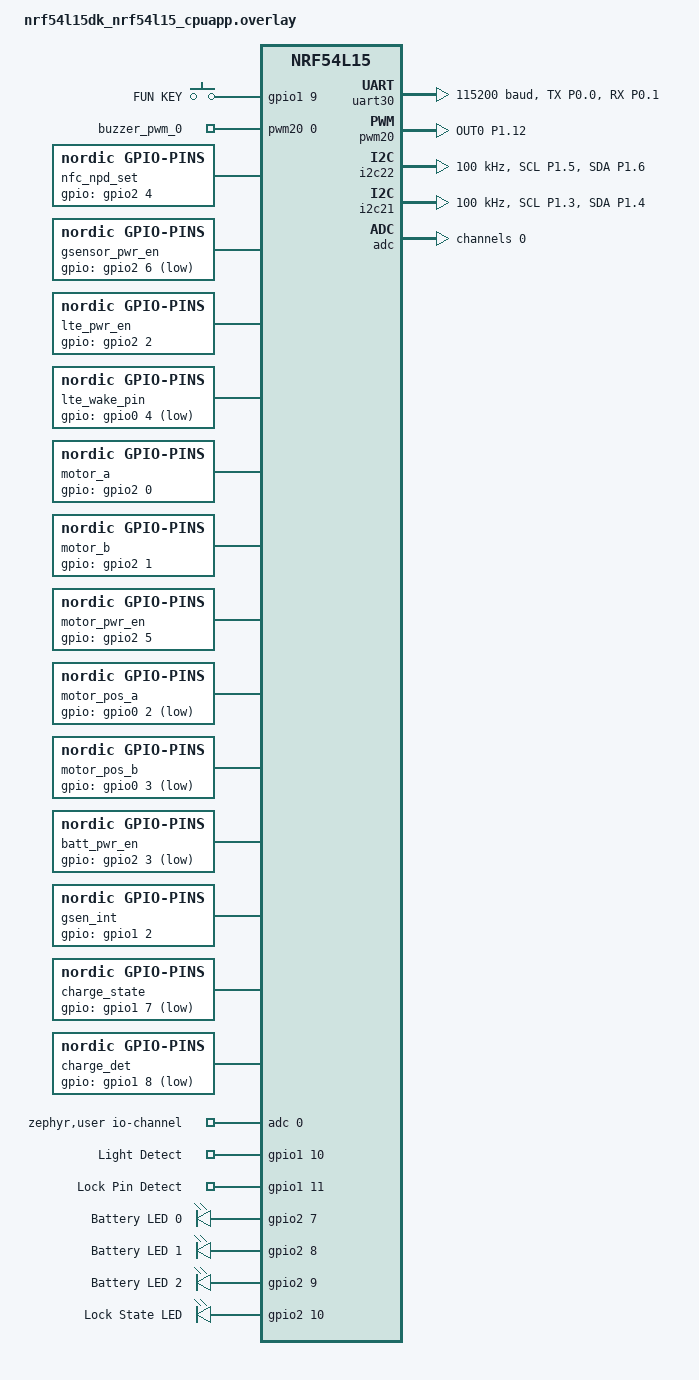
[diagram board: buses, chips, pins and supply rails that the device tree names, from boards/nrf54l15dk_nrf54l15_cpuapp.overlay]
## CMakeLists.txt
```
#
# Copyright (c) 2018 Nordic Semiconductor
#
# SPDX-License-Identifier: LicenseRef-Nordic-5-Clause
#
cmake_minimum_required(VERSION 3.20.0)

find_package(Zephyr REQUIRED HINTS $ENV{ZEPHYR_BASE})
project(LL311_BLE)

set(CMAKE_EXPORT_COMPILE_COMMANDS ON)

target_include_directories(app PRIVATE
 ./inc
 ./src
 ./ext_module/QMI8658B/api
)

# NORDIC SDK APP START
target_sources(app PRIVATE
  src/gsensor_test_main.c
  src/my_shell.c
  src/my_gsensor.c
  ext_module/QMI8658B/api/imu_api.c
  ext_module/QMI8658B/port/qmi8658b_port.c
  ext_module/QMI8658B/driver/qmi8658b_driver.c
)

# NORDIC SDK APP END
```

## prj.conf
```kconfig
#
# Copyright (c) 2018 Nordic Semiconductor
#
# SPDX-License-Identifier: LicenseRef-Nordic-5-Clause
#

# Enable the UART driver
CONFIG_UART_ASYNC_API=y
CONFIG_NRFX_UARTE=y
CONFIG_SERIAL=y

# Enable the GPIO driver
CONFIG_GPIO=y

# Enable I2C driver
CONFIG_I2C=y

# Enable PWM driver
CONFIG_PWM=y

# Make sure printk is printing to the RTT console
CONFIG_CONSOLE=y
CONFIG_UART_CONSOLE=n
CONFIG_RTT_CONSOLE=y

# Enable Shell
CONFIG_SHELL=y
CONFIG_SHELL_BACKEND_RTT=y
CONFIG_SHELL_BACKEND_SERIAL=n
CONFIG_SHELL_VT100_COMMANDS=y
CONFIG_SHELL_HISTORY=y

# Increase RTT buffer size to prevent message drops
CONFIG_SEGGER_RTT_BUFFER_SIZE_UP=4096
CONFIG_LOG_BUFFER_SIZE=4096

# Heap and stacks
CONFIG_HEAP_MEM_POOL_SIZE=16384
CONFIG_MAIN_STACK_SIZE=2048
CONFIG_SYSTEM_WORKQUEUE_STACK_SIZE=2048

# Bluetooth RX workqueue stack size (default 1200 is insufficient for BLE log, increased to 2048)
CONFIG_BT_RX_STACK_SIZE=2048

# Enable Bluetooth
CONFIG_BT=y
CONFIG_BT_PERIPHERAL=y
CONFIG_BT_DEVICE_NAME="LL311"
CONFIG_BT_DEVICE_APPEARANCE=512
CONFIG_BT_MAX_CONN=2
CONFIG_BT_MAX_PAIRED=1

# Enable Bluetooth Observer role for TAG scanning
CONFIG_BT_OBSERVER=y
CONFIG_BT_SCAN=y

# Enable extended advertising for multiple advertising sets
CONFIG_BT_EXT_ADV=y
CONFIG_BT_EXT_ADV_MAX_ADV_SET=3

CONFIG_BT_CTLR_TX_PWR_DYNAMIC_CONTROL=y

# Enable the Device Information Service
# CONFIG_BT_DIS=y
# CONFIG_BT_DIS_MANUF_NAME=y
# CONFIG_BT_DIS_MANUF_NAME_STR="Nordic Semiconductor ASA"
# CONFIG_BT_DIS_PNP=y
# CONFIG_BT_DIS_PNP_VID_SRC=2
# CONFIG_BT_DIS_PNP_VID=0x1915
# CONFIG_BT_DIS_PNP_PID=0xEEF1
# CONFIG_BT_DIS_PNP_VER=0x0100

# Disable NUS service
CONFIG_BT_NUS=n
# CONFIG_BT_NUS_THREAD_STACK_SIZE is no longer needed

# Enable bonding
CONFIG_BT_SETTINGS=y
CONFIG_FLASH=y
CONFIG_FLASH_PAGE_LAYOUT=y
CONFIG_FLASH_MAP=y
CONFIG_STREAM_FLASH=y
CONFIG_PARTITION_MANAGER_ENABLED=y

# Enable DK LED and Buttons library
CONFIG_DK_LIBRARY=n

# Disable SPI NOR Flash
CONFIG_SPI_NOR=n
CONFIG_NORDIC_QSPI_NOR=n

# Enable Power Management
CONFIG_PM=y
CONFIG_PM_DEVICE=y
CONFIG_PM_DEVICE_RUNTIME=y

# Disable unused RAM blocks to reduce standby current
CONFIG_RAM_POWER_DOWN_LIBRARY=y

# Config logger
CONFIG_LOG=y
CONFIG_LOG_DEFAULT_LEVEL=3
CONFIG_USE_SEGGER_RTT=y
CONFIG_LOG_BACKEND_RTT=n
CONFIG_LOG_BACKEND_UART=n
CONFIG_LOG_PRINTK=n
CONFIG_LOG_CUSTOM_FORMAT_SUPPORT=y
CONFIG_LOG_OUTPUT_FORMAT_CUSTOM_TIMESTAMP=y
CONFIG_LOG_BACKEND_FORMAT_TIMESTAMP=y


# Enable assertions
CONFIG_ASSERT=y

# Enable power management
CONFIG_PM=y
CONFIG_PM_DEVICE=y

# Enable Watchdog
# CONFIG_WATCHDOG=y

# Enable reboot
CONFIG_REBOOT=y

# Enable ADC
CONFIG_ADC=y
CONFIG_ADC_NRFX_SAADC=y

# ST MEMSC HAL
CONFIG_USE_STDC_LSM6DSV16X=y

# Enable poweroff
CONFIG_POWEROFF=y

# nRF Security + PSA Crypto
CONFIG_NRF_SECURITY=y

# AES ECB
CONFIG_PSA_WANT_KEY_TYPE_AES=y
CONFIG_PSA_WANT_ALG_ECB_NO_PADDING=y

# Enable MCUManager and BT OTA DFU
CONFIG_NCS_SAMPLE_MCUMGR_BT_OTA_DFU=y

# Enable Bluetooth OTA DFU support, no authentication required
CONFIG_MCUMGR_TRANSPORT_BT_PERM_RW=y

# MCUmgr notification hooks for OTA status monitoring
CONFIG_MCUMGR_MGMT_NOTIFICATION_HOOKS=y
CONFIG_MCUMGR_SMP_COMMAND_STATUS_HOOKS=y
CONFIG_MCUMGR_GRP_IMG_UPLOAD_CHECK_HOOK=y

# Enable Bluetooth SMP (Security Manager Protocol)
CONFIG_BT_SMP=y

# Enable Secure Connections pairing (for Passkey Entry)
CONFIG_BT_SMP_SC_PAIR_ONLY=n

# Enable larger ACL buffers for DFU (MTU 498 + 4 bytes L2CAP header)
# Supports dual-PDU mode: max data length = 251 * 2 = 502
CONFIG_BT_L2CAP_TX_MTU=498
CONFIG_BT_BUF_ACL_RX_SIZE=502
CONFIG_BT_BUF_ACL_TX_SIZE=502
CONFIG_BT_CTLR_DATA_LENGTH_MAX=251

CONFIG_CBPRINTF_FP_SUPPORT=y
```

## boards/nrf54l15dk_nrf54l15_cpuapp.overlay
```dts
/*
 * Copyright (c) 2024 Nordic Semiconductor ASA
 *
 * SPDX-License-Identifier: LicenseRef-Nordic-5-Clause
 */

#include <zephyr/dt-bindings/gpio/gpio.h>
#include <zephyr/dt-bindings/i2c/i2c.h>
#include <zephyr/dt-bindings/pinctrl/nrf-pinctrl.h>

/ {
	chosen {
	};

	/* 定义别名，方便代码调用 */
	aliases {
		/* 删除板级alias别名 */
		/delete-property/ led0;
		/delete-property/ led1;
		/delete-property/ led2;
		/delete-property/ led3;
		/delete-property/ pwm-led0;
		/delete-property/ sw0;
		/delete-property/ sw1;
		/delete-property/ sw2;
		/delete-property/ sw3;
		/delete-property/ mcuboot-button0;
		/delete-property/ mcuboot-led0;
		lte-uart = &uart30;
		lte-pwr-ctrl = &lte_pwr_en;
		lte-wake-ctrl = &lte_wake_pin;
		gsensor-i2c = &i2c21;
		gsensor-pwr-ctrl = &gsensor_pwr_en;
		nfc-i2c = &i2c22;
		nfc-npd-ctrl = &nfc_npd_set;
		buzzer-pwm = &buzzer_pwm_0;
		fun-key = &fun_key_pin;
		motor-ctrl-a = &motor_a;
		motor-ctrl-b = &motor_b;
		motor-pwr-ctrl = &motor_pwr_en;
		motor-posdet-a = &motor_pos_a;
		motor-posdet-b = &motor_pos_b;
		batt-pwr-ctrl = &batt_pwr_en;
		gsensor-int = &gsen_int;
		batt-state = &charge_state;
		charge-detect = &charge_det;
		light-detect = &light_det_pin;
		lock-pin-det = &lock_pin_det_pin;
		battery-led0 = &batt_led0;
		battery-led1 = &batt_led1;
		battery-led2 = &batt_led2;
		lock-led0  = &lock_led;
	};
	/* 删除板级节点 */
	/delete-node/ leds;
	/delete-node/ buttons;
	/delete-node/ pwmleds;

	/* 定义按键 - 使用 gpio-keys 兼容类型 */
	button_fun: button_fun {
		compatible = "gpio-keys";
		fun_key_pin: fun_key_pin {
			gpios = <&gpio1 9 (GPIO_PULL_DOWN | GPIO_ACTIVE_HIGH)>;
			label = "FUN KEY";
		};
	};

	/* 定义蜂鸣器 PWM 节点 */
	buzzer_node {
		compatible = "pwm-leds";
		buzzer_pwm_0: buzzer_pwm_0 {
			/* 蜂鸣器设置2.7KHz */
			pwms = <&pwm20 0 PWM_HZ(2700) PWM_POLARITY_NORMAL>;
		};
	};

	/* NFC NPD 低功耗控制引脚配置:P2.04 */
	nfc_npd_set: nfc-npd-set {
		compatible = "nordic,gpio-pins";
		gpios = <&gpio2 4 GPIO_ACTIVE_HIGH>;
		status = "okay";
	};

	/* G-Sensor 电源控制引脚配置,低电平有效,适配硬件设计 */
	gsensor_pwr_en: gsensor-pwr-en {
		compatible = "nordic,gpio-pins";
		gpios = <&gpio2 6 GPIO_ACTIVE_LOW>;
		status = "okay";
	};

	/* LTE 电源控制引脚配置 */
	lte_pwr_en: lte-pwr-en {
		compatible = "nordic,gpio-pins";
		gpios = <&gpio2 2 GPIO_ACTIVE_HIGH>;
		status = "okay";
	};

	/* LTE 唤醒引脚配置：P0.04，外部上拉，4G拉低唤醒Nordic */
	lte_wake_pin: lte-wake-pin {
		compatible = "nordic,gpio-pins";
		gpios = <&gpio0 4 GPIO_ACTIVE_LOW>;
		status = "okay";
	};

	/* P2.0: 马达方向 A */
	motor_a: motor-a {
		compatible = "nordic,gpio-pins";
		gpios = <&gpio2 0 GPIO_ACTIVE_HIGH>;
		status = "okay";
	};

	/* P2.1: 马达方向 B */
	motor_b: motor-b {
		compatible = "nordic,gpio-pins";
		gpios = <&gpio2 1 GPIO_ACTIVE_HIGH>;
		status = "okay";
	};

	/* P2.5: 马达电源开关，高电平上电 */
	 motor_pwr_en: motor-pwr-en {
		compatible = "nordic,gpio-pins";
		gpios = <&gpio2 5 GPIO_ACTIVE_HIGH>;
		status = "okay";
	};

	/* P0.2: 位置检测 A，默认上拉 */
	motor_pos_a: motor-pos-a {
		compatible = "nordic,gpio-pins";
		gpios = <&gpio0 2 (GPIO_ACTIVE_LOW | GPIO_PULL_UP)>;
		status = "okay";
	};

	/* P0.3: 位置检测 B，默认上拉 */
	motor_pos_b: motor-pos-b {
		compatible = "nordic,gpio-pins";
		gpios = <&gpio0 3 (GPIO_ACTIVE_LOW | GPIO_PULL_UP)>;
		status = "okay";
	};

	/* P2.3: 电池使能，低电平使能 */
	batt_pwr_en: batt-pwr-en {
		compatible = "nordic,gpio-pins";
		gpios = <&gpio2 3 GPIO_ACTIVE_LOW>;
		status = "okay";
	};

	/* gsensor中断，默认下拉 */
	gsen_int: gsen-int {
		compatible = "nordic,gpio-pins";
		gpios = <&gpio1 2 (GPIO_PULL_DOWN | GPIO_ACTIVE_HIGH)>;
		status = "okay";
	};

	/* P1.7:电池状态监测； 充电中:低电平; 充满:高电平 */
	charge_state: charge-state {
		compatible = "nordic,gpio-pins";
		gpios = <&gpio1 7 (GPIO_PULL_UP | GPIO_ACTIVE_LOW)>;
		status = "okay";
	};

	/* P1.8: 是否在充电的检测,默认上拉 */
	charge_det: charge-det {
		compatible = "nordic,gpio-pins";
		gpios = <&gpio1 8 (GPIO_PULL_UP | GPIO_ACTIVE_LOW)>;
		status = "okay";
	};

	/* 把要用的 ADC 通道挂到 zephyr,user，方便 C 代码用 ADC_DT_SPEC_GET(DT_PATH(zephyr_user)) */
	zephyr,user {
		/* 通道 0：电池电压（P1.13 / AIN6）*/
		io-channels = <&adc 0>;
	};

	/* 光感检测：P1.10，外部1M下拉，有光高电平，无光低电平 */
	light_det: light-det {
		compatible = "gpio-keys";
		light_det_pin: light_det_pin {
			gpios = <&gpio1 10 GPIO_ACTIVE_HIGH>;
			label = "Light Detect";
		};
	};

	/* 锁销检测：P1.11，外部1M下拉，锁销断开时低电平，插入后接3.3V变为高电平 */
	lock_pin_det: lock-pin-det {
		compatible = "gpio-keys";
		lock_pin_det_pin: lock_pin_det_pin {
			gpios = <&gpio1 11 GPIO_ACTIVE_HIGH>;
			label = "Lock Pin Detect";
		};
	};

	/* 电量指示灯组：P2.7 / P2.8 / P2.9 */
	batt_leds: batt-leds {
		compatible = "gpio-leds";

		batt_led0: batt_led_0 {
			gpios = <&gpio2 7 GPIO_ACTIVE_HIGH>;
			label = "Battery LED 0";  /* 最低电量格 */
		};

		batt_led1: batt_led_1 {
			gpios = <&gpio2 8 GPIO_ACTIVE_HIGH>;
			label = "Battery LED 1";
		};

		batt_led2: batt_led_2 {
			gpios = <&gpio2 9 GPIO_ACTIVE_HIGH>;
			label = "Battery LED 2";  /* 最高电量格 */
		};
	};

	/* 锁状态指示灯：P2.10 */
	lock_leds: lock-leds {
		compatible = "gpio-leds";

		lock_led: lock-led {
			gpios = <&gpio2 10 GPIO_ACTIVE_HIGH>;
			label = "Lock State LED";
		};
	};
};

/* 配置 NFC 使用的引脚做为IO口 */
&uicr {
	nfct-pins-as-gpios;
};

&uart20 {
	status = "disabled";
};

/* 配置 LTE 模块使用的串口引脚 P2.00, P2.01 */
&pinctrl {
	i2c21_default: i2c21_default {
		group1 {
			psels = <NRF_PSEL(TWIM_SCL, 1, 3)>,
				<NRF_PSEL(TWIM_SDA, 1, 4)>;
		};
	};

	i2c21_sleep: i2c21_sleep {
		group1 {
			psels = <NRF_PSEL(TWIM_SCL, 1, 3)>,
				<NRF_PSEL(TWIM_SDA, 1, 4)>;
			low-power-enable;
		};
	};

	i2c22_default: i2c22_default {
		group1 {
			psels = <NRF_PSEL(TWIM_SCL, 1, 5)>,
				<NRF_PSEL(TWIM_SDA, 1, 6)>;
		};
	};

	i2c22_sleep: i2c22_sleep {
		group1 {
			psels = <NRF_PSEL(TWIM_SCL, 1, 5)>,
				<NRF_PSEL(TWIM_SDA, 1, 6)>;
			low-power-enable;
		};
	};

	lte_uart30_default: lte_uart30_default {
		group1 {
			psels = <NRF_PSEL(UART_TX, 0, 0)>,
				<NRF_PSEL(UART_RX, 0, 1)>;
		};
	};

	lte_uart30_sleep: lte_uart30_sleep {
		group1 {
			psels = <NRF_PSEL(UART_TX, 0, 0)>,
				<NRF_PSEL(UART_RX, 0, 1)>;
			low-power-enable;
		};
	};

	pwm20_default: pwm20_default {
		group1 {
			psels = <NRF_PSEL(PWM_OUT0, 1, 12)>;
			nordic,drive-mode = <NRF_DRIVE_H0H1>;
		};
	};

	pwm20_sleep: pwm20_sleep {
		group1 {
			psels = <NRF_PSEL(PWM_OUT0, 1, 12)>;
			low-power-enable;
		};
	};
};

/* 开启并配置 UART30 */
&uart30 {
	status = "okay";
	current-speed = <115200>;
	pinctrl-0 = <&lte_uart30_default>;
	pinctrl-1 = <&lte_uart30_sleep>;
	pinctrl-names = "default", "sleep";
};

/* 开启并配置 PWM 用于蜂鸣器 */
&pwm20 {
	status = "okay";
	pinctrl-0 = <&pwm20_default>;
	pinctrl-1 = <&pwm20_sleep>;
	pinctrl-names = "default", "sleep";
};

/* 开启并配置 I2C22 用于 NFC */
&i2c22 {
	status = "okay";
	pinctrl-0 = <&i2c22_default>;
	pinctrl-1 = <&i2c22_sleep>;
	pinctrl-names = "default", "sleep";
	clock-frequency = <I2C_BITRATE_STANDARD>;
};


&i2c21 {
	status = "okay";
	pinctrl-0 = <&i2c21_default>;
	pinctrl-1 = <&i2c21_sleep>;
	pinctrl-names = "default", "sleep";
	clock-frequency = <I2C_BITRATE_STANDARD>;
};

/* ADC 配置：通道 0 = AIN6(P1.13)，通道 1 = AIN7(P1.14) */
&adc {
	#address-cells = <1>;
	#size-cells = <0>;
	status = "okay";

	/* 通道 0：电池电压采集，AIN6 = P1.13 */
	channel@0 {
		reg = <0>;
		zephyr,gain = "ADC_GAIN_1_4";          /* nRF54L15 推荐 1/4 增益 */
		zephyr,reference = "ADC_REF_INTERNAL"; /* 内部参考 */
		zephyr,acquisition-time = <ADC_ACQ_TIME_DEFAULT>;
		zephyr,input-positive = <NRF_SAADC_AIN6>;  /* AIN6 = P1.13 */
		zephyr,resolution = <14>;                  /* nRF54L15 为 14 bit */
	};
};

/* disable spi nor flash */
&spi00 {
	status = "disabled";
};

/* Disable MX25R64 SPI NOR Flash */
&mx25r64 {
    status = "disabled";
};

/* 用于P0.4唤醒 */
&gpio0 {
	wakeup-source;
};

/*
&wdt31 {
	status = "okay";
};
*/
```

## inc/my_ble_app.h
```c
/********************************************************************
**版权所有         深圳市几米物联有限公司
**文件名称:        my_ble_app.h
**文件描述:        设备蓝牙交互模块实现头文件
**当前版本:        V1.0
**作    者:        周森达 (zhousenda@jimiiot.com)
**完成日期:        2026-03-05
*********************************************************************
** 功能描述:        1. 提供交互协议相关宏定义
**                 2. 为外部提供数据接收和解析相关接口
** 协议文档:        Jimi Iot 蓝牙通信协议V3.1.6_2026-3-5
** OTA 效率优化:    为提升 OTA 传输效率，采用双 PDU 模式，MTU 扩大至 498 字节
**                 （默认 MTU 247 仅支持单 PDU，498 支持双 PDU，理论吞吐提升约 2 倍）
** 配置位置:        prj.conf 中 CONFIG_BT_L2CAP_TX_MTU=498 和 CONFIG_BT_BUF_ACL_RX_SIZE=502
*********************************************************************/
#ifndef _MY_BLE_APP_H_
#define _MY_BLE_APP_H_

// 交互协议相关宏定义
#define BLE_DATA_FRAME_LEN_MAX                  16

#define BLE_DATA_PACKET_HEAD                    0X4254          //数据包头
#define BLE_DATA_TYPE_PKEY                      0x1101          //公钥数据
#define BLE_DATA_TYPE_CID                       0x2202          //串号数据
#define BLE_DATA_TYPE_MTU_LEN                   0x2203          //MTU交换数据
#define BLE_DATA_TYPE_HID_VALID                 0x2303          //HID有效期
#define BLE_DATA_TYPE_ALARM                     0x3303          //防盗器指令数据
#define BLE_DATA_TYPE_QUERY                     0x3304          //查询仪表数据及应答
#define BLE_DATA_TYPE_REPORT                    0x3305          //仪表数据上行汇报及应答
#define BLE_DATA_TYPE_CMD                       0x5505          //其它指令数据
#define BLE_DATA_TYPE_FILE_TRANS                0x4605          //DFU文件指令,参考Jimi Iot 蓝牙通信协议V3.1.6_2026-3-5 6.4 OTA文件传输
#define BLE_DATA_TYPE_QEURY_VER                 0x5601          //app下行查询版本号
#define BLE_DATA_TYPE_RSP_VER1                  0x5602          //设备类型
#define BLE_DATA_TYPE_RSP_VER2                  0x5603          //设备版本号

#define BLE_DATA_TYPE_SET_ADV                   0x5606          //设置广播名称
#define BLE_DATA_TYPE_SET_IMEI                  0x5707          //设置IMEI号
#define BLE_DATA_TYPE_AT_CMD                    0x5808          //用户指令

/* 单模块回复传输（0xFF 0x01 / 0xFF 0x02）
 * 用于大数据量返回，如NFCTRIG CHECK返回结果
 * 1. 可单包发送时走 FF01：payload 格式为 len(Varint, 0-512) + Module id(Varint,固定0x08) + Module len(Varint) + data
 *    APP 回复解密后 payload 固定为 0x00
 * 2. 需分包发送时走 FF02：payload 格式为 Len(Varint, 0-512) + Seq(1B) + [首包附带 Module id + Module len] + data
 *    APP 回复格式为 52 54 FF 02，解密后 payload 为 len(Varint) + 包序号
 */
#define BLE_DATA_TYPE_PACKET_SINGLE             0xFF01          //单包传输数据类型
#define BLE_DATA_TYPE_PACKET_MULTIPLE           0xFF02          //分包传输数据类型

#define BLE_PACKET_TRANS_MODULE_ID              0x08            //模块ID(RSP_ASCII)
#define BLE_PACKET_TRANS_SEQ_LAST               0xFF            //最后一包序号标记

/* 日志指令透传数据（LOG_DATA）
 * 指令格式：
 * +--------+--------+--------+--------+
 * |  字节  |   0~1  |   2~3  |  4~N   |
 * +--------+--------+--------+--------+
 * |  字段  |  head  |  cmd   |  data  |
 * +--------+--------+--------+--------+
 * |  值    | 0x4254 | 0x5901 |  日志  |
 * +--------+--------+--------+--------+
 * 说明：
 *   - head (2B): 帧头 0x4254 ("BT")
 *   - cmd  (2B): 指令类型 0x5901 (LOG_DATA)
 *   - data (NB): 透传日志内容，明文传输，无需16字节对齐，测试发现小于16字节的需要填充0，补足16字节
 *   - 长度计算: MTU - BLE_LOG_MTU_OVERHEAD
 *   - MTU开销: ATT头(3B) + head(2B) + cmd(2B) = 7B
 */
#define BLE_DATA_TYPE_BT_LOG                    0x5901          //日志指令透传数据（LOG_DATA）
/* 日志数据MTU开销：ATT头(3B) + head(2B) + cmd(2B) */
#define BLE_LOG_MTU_OVERHEAD                    7

/* 蓝牙日志单包最大内容长度
 * 原因：测试发现超过240字节会导致蓝牙自动断开
 * 注意：此限制与MTU无关，是协议栈稳定性要求
 */
#define BLE_LOG_MAX_CHUNK_SIZE                  240

#define BLE_DFU_HEAD1                           0x78            // DFU包头1
#define BLE_DFU_HEAD2                           0x79            // DFU包头2

#define BLE_COMU_DEV_CODE                       0xB3            // 设备码
#define BLE_COMU_APP_CODE                       0xC2            // 应用码
#define BLE_COMU_CMD_START                      0x89            // 命令码
#define BLE_COMU_ALARM_START                    0x78            // 告警码

#define BLE_PKEY_RX_CMD                         0x8900C200      // 公钥接收命令
#define BLE_PKEY_RSP_DATA1                      0x00            // 公钥接收响应数据1
#define BLE_PKEY_RSP_DATA3                      0x00

/* APP下行控制指令    */
#define BLE_APP_CMD_APP_LINK                    0x00
#define BLE_APP_CMD_PAIR_ALLOW                  0x02
#define BLE_APP_CMD_PAIR_ALIOS                  0x03            // IOS PAIR ALLOW
#define BLE_APP_CMD_HID_READ                    0x05
#define BLE_APP_CMD_HID_ONOFF                   0x06
#define BLE_APP_CMD_HID_GEAR                    0x08
#define BLE_APP_CMD_QUERY_SENSOR                0x09
#define BLE_APP_CMD_SETUP_SENSOR                0x0a
#define BLE_APP_CMD_QUERY_BUZZER                0x0b
#define BLE_APP_CMD_SETUP_BUZZER                0x0c
#define BLE_APP_CMD_QUERY_CTRLPWR               0x0d
#define BLE_APP_CMD_SETUP_CTRLPWR               0x0e
#define BLE_APP_CMD_QUERY_ALL                   0x0f
#define BLE_APP_CMD_FIND_CAR                    0x10
#define BLE_APP_CMD_USER_MODE                   0x12
#define BLE_APP_CMD_PAIR_MODE                   0x15
#define BLE_APP_CMD_PAIR_CODE                   0x16

/* 设备上行应答APP控制指令       */
#define BLE_RSP_CMD_APP_LINK                    0x00
#define BLE_RSP_CMD_CID                         0x01
#define BLE_RSP_CMD_PAIR_ALLOW                  0x03
#define BLE_RSP_CMD_PAIR_RESULT                 0x04
#define BLE_RSP_CMD_HID_ONOFF                   0x06
#define BLE_RSP_CMD_HID_GEAR                    0x08
#define BLE_RSP_CMD_SENSOR_PARAM                0x09
#define BLE_RSP_CMD_SENSOR_SETUP                0x0a
#define BLE_RSP_CMD_BUZZER_PARAM                0x0b
#define BLE_RSP_CMD_BUZZER_SETUP                0x0c
#define BLE_RSP_CMD_CTRLPWR_PARAM               0x0d
#define BLE_RSP_CMD_CTRLPWR_SETUP               0x0e
#define BLE_RSP_CMD_QUERY_ALL                   0x0f
#define BLE_RSP_CMD_FIND_CAR                    0x10
#define BLE_RSP_CMD_USER_MODE                   0x12
#define BLE_RSP_CMD_PAIR_MODE                   0x15
#define BLE_RSP_CMD_PAIR_CODE                   0x16

#define BLE_RSP_PARAM_SUCCESS                   0x00
#define BLE_RSP_PARAM_FAIL                      0x01

extern uint16_t ble_server_mtu;

#define BLE_SERVER_MAX_MTU CONFIG_BT_L2CAP_TX_MTU // MTU最大长度，系统用掉了3个字节,可用数据最大244字节
#define BLE_SERVER_MIN_MTU 23                     // MTU默认最小长度

#define BLE_SERVER_MAX_DATA_LEN    (ble_server_mtu - 3)
#define BLE_SVC_RX_MAX_LEN         (BLE_SERVER_MAX_MTU - 3)
#define BLE_SVC_TX_MAX_LEN         (BLE_SERVER_MAX_MTU - 3)

#define BLE_RESP_LENGTH_MAX         BLE_SVC_RX_MAX_LEN

#define BLE_FRAME_HEAD_LEN          2               // 蓝牙数据帧头长度2字节
#define BLE_CMD_HEAD_LEN            2               // 蓝牙命令头长度2字节
#define BLE_CMD_DATA_LEN_UNIT       16              // 蓝牙命令内容长度基数16字节，因为要加密，必须是16字节的倍数
#define BLE_GATT_FRAME_LEN_MIN      (BLE_FRAME_HEAD_LEN + BLE_CMD_HEAD_LEN + BLE_CMD_DATA_LEN_UNIT)

#define BLE_MTU_DATA_LEN            (512 + 16)  /* MTU 498 支持，最大解密后约 512 字节，对齐 16 字节 */

/*********************************************************************
**函数名称:  BLE_DataInputBuffer
**入口参数:  data        --  蓝牙接收的原始数据指针
**           len         --  蓝牙接收的原始数据长度
**出口参数:  无
**函数功能:  验证数据长度合法性后缓存数据，发送消息给蓝牙线程处理
**返 回 值:  无
*********************************************************************/
void BLE_DataInputBuffer(const uint8_t *data, uint16_t len);
/*********************************************************************
**函数名称:  ble_rx_proc_handle
**入口参数:  无
**出口参数:  无
**函数功能:  蓝牙接收消息处理函数，验证包头后分发处理数据包
**返 回 值:  无
*********************************************************************/
void ble_rx_proc_handle(void);

/*********************************************************************
**函数名称:  my_ble_dfu_send_response
**入口参数:  cmd   ---   命令码
**           data  ---   响应数据
**           len   ---   数据长度
**出口参数:  无
**函数功能:  发送 DFU 响应数据
**返 回 值:  无
*********************************************************************/
void my_ble_dfu_send_response(uint8_t cmd, uint8_t *data, uint16_t len);

/*********************************************************************
**函数名称:  ble_log_send
**入口参数:  data     ---        日志数据指针
**           len      ---        日志数据长度
**出口参数:  无
**函数功能:  发送蓝牙日志到APP，通过指令通道（0x5901）明文传输
**返 回 值:  无
*********************************************************************/
void ble_log_send(uint8_t *data, uint8_t len);

/*********************************************************************
**函数名称:  ble_log_init
**入口参数:  无
**出口参数:  无
**函数功能:  初始化蓝牙日志模块，包括互斥锁初始化
**返 回 值:  0 表示成功
*********************************************************************/
int ble_log_init(void);

/*********************************************************************
**函数名称:  ble_log_disconnect_cleanup
**入口参数:  无
**出口参数:  无
**函数功能:  蓝牙断开时设置断开标志，通知 ble_log_send 清理资源
**返 回 值:  无
*********************************************************************/
void ble_log_disconnect_cleanup(void);

/*********************************************************************
**函数名称:  ble_log_connect_init
**入口参数:  无
**出口参数:  无
**函数功能:  蓝牙连接建立时清除断开标志，允许日志发送
**返 回 值:  无
*********************************************************************/
void ble_log_connect_init(void);
/********************************************************************
**函数名称:  ble_comu_at_cmd_handle
**入口参数:  data          ---        AT命令数据输入指针
**         :  len           ---        数据长度
**出口参数:  无
**函数功能:  处理BLE接收的AT命令
**返回值:    无
**注意事项:  根据AT命令处理结果决定是否发送响应数据
*********************************************************************/
void ble_comu_at_cmd_handle(const uint8_t *data, uint16_t len);

/********************************************************************
**函数名称:  ble_packet_trans_send
**入口参数:  data          ---        待发送的实际数据指针
**         :  len           ---        待发送的实际数据长度
**出口参数:  无
**函数功能:  使用分包传输机制（0xFF 0x02）发送大数据到APP
**返回值:    无
**注意事项:  1.数据会被自动分包，每包等待APP确认后再发下一包
**           2.分包大小根据MTU自动计算
**           3.数据内容会被扩展到16字节倍数后加密发送
**           4.最后一包实际数据使用0xFF作为序号
*********************************************************************/
void ble_packet_trans_send(uint8_t *data, uint16_t len);

/*********************************************************************
**函数名称:  ble_packet_trans_init
**入口参数:  无
**出口参数:  无
**函数功能:  初始化BLE单包/分包回复超时与重发模块
**返 回 值:  无
*********************************************************************/
void ble_packet_trans_init(void);

/*********************************************************************
**函数名称:  ble_packet_trans_timeout_handler
**入口参数:  无
**出口参数:  无
**函数功能:  BLE 分包传输应答超时处理，在 BLE 线程上下文执行
**返 回 值:  无
*********************************************************************/
void ble_packet_trans_timeout_handler(void);

/*********************************************************************
**函数名称:  ble_packet_trans_disconnect_cleanup
**入口参数:  无
**出口参数:  无
**函数功能:  蓝牙断开时清理BLE单包/分包回复状态
**返 回 值:  无
*********************************************************************/
void ble_packet_trans_disconnect_cleanup(void);

/********************************************************************
**函数名称:  ble_comu_response_or_expansion_cmd
**入口参数:  type          ---        命令类型
**         :  str_data      ---        输入数据指针
**         :  len           ---        数据长度
**出口参数:  无
**函数功能:  发送BLE通信响应或扩展命令数据
**返回值:    无
**注意事项:  数据长度会被扩展到16字节的倍数进行发送
*********************************************************************/
void ble_comu_response_or_expansion_cmd(uint16_t type, uint8_t *str_data, uint8_t len);
#endif
```

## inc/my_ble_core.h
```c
/********************************************************************
**版权所有         深圳市几米物联有限公司
**文件名称:        my_ble_core.h
**文件描述:        蓝牙核心任务处理模块头文件
**当前版本:        V1.0
**作    者:        Harrison Wu (wuyujiao@jimiiot.com)
**完成日期:        2026.01.13
*********************************************************************
** 功能描述:        蓝牙核心任务处理模块接口
**                 1. 提供BLE核心初始化接口
**                 2. 提供BLE运行控制接口(启动/停止等)
**                 3. 定义BLE与UART透传之间的FIFO接口
**                 4. 为应用层提供BLE连接状态和数据通道抽象
*********************************************************************/

#ifndef _MY_BLE_CORE_H_
#define _MY_BLE_CORE_H_

typedef enum {
    APPLE_ADV_TYPE,
    GOOGLE_ADV_TYPE
} MY_ADV_TYPE;

/*
 * BLE 核心初始化参数：
 * 目前暂无特定参数，预留结构体
 */
struct my_ble_core_init_param
{
    uint32_t reserved;
};

/********************************************************************
**函数名称:  my_ble_core_init
**入口参数:  param    ---        BLE 核心初始化参数结构体（包含 UART-BLE 透传 FIFO ）
**           tid      ---        指向线程 ID 变量的指针
**出口参数:  tid      ---        存储启动后的线程 ID
**函数功能:  保存 UART 与 BLE 透传 FIFO 句柄，初始化消息队列并启动 BLE 任务线程
**返 回 值:  0 表示成功，负值表示失败（如参数非法等）
*********************************************************************/
int my_ble_core_init(const struct my_ble_core_init_param *param, k_tid_t *tid);

/********************************************************************
**函数名称:  my_ble_core_start
**入口参数:  无
**出口参数:  无
**函数功能:  启动 BLE 协议栈、相关广播及 GATT 服务
**返 回 值:  0 表示成功，负值表示失败（如协议栈初始化失败等）
*********************************************************************/
int my_ble_core_start(void);

/********************************************************************
**函数名称:  set_adv_valid_status
**入口参数:  index    ---        广播类型索引（0:APPLE, 1:GOOGLE）
**           status   ---        广播状态（0:无效, 1:有效）
**出口参数:  无
**函数功能:  设置指定类型广播的有效状态
**返 回 值:  无
*********************************************************************/
void set_adv_valid_status(MY_ADV_TYPE index, int status);

/********************************************************************
**函数名称:  bt_get_mac_addr
**入口参数:  无
**出口参数:  无
**函数功能:  获取设备蓝牙MAC地址
**返 回 值:  指向MAC地址缓冲区的指针（6字节）
*********************************************************************/
const uint8_t *bt_get_mac_addr(void);
/********************************************************************
**函数名称:  ble_server_send_notification
**入口参数:  data     ---        要发送的数据缓冲区指针
**           tx_len   ---        数据长度
**出口参数:  无
**函数功能:  BLE服务器发送通知函数，处理GATT通知数据发送
**返 回 值:  无
*********************************************************************/
void ble_server_send_notification(uint8_t *data, uint16_t tx_len);

/********************************************************************
**函数名称:  ble_is_connected
**入口参数:  无
**出口参数:  无
**函数功能:  检查BLE是否已连接
**返 回 值:  true=已连接，false=未连接
*********************************************************************/
bool ble_is_connected(void);

/********************************************************************
**函数名称:  ble_is_data_channel_ready
**入口参数:  无
**出口参数:  无
**函数功能:  检查BLE数据通道是否就绪（连接建立+CCC使能）
**返 回 值:  true=就绪，false=未就绪
**注意事项:  仅当数据通道就绪后才能发送日志，避免在连接初期发送导致崩溃
*********************************************************************/
bool ble_is_data_channel_ready(void);
/********************************************************************
**函数名称:  ble_set_tx_power
**入口参数:  tx_power ---        发射功率(dBm)，范围: -10 ~ +7(NRF54L15 QFN封装)
**出口参数:  无
**函数功能:  设置蓝牙发射功率
**返 回 值:  0表示成功，负值表示失败
*********************************************************************/
int ble_set_tx_power(int8_t tx_power);
/********************************************************************
**函数名称:  ble_set_tx_power_by_param
**入口参数:  无
**出口参数:  无
**函数功能:  根据ZMS存储的参数设置蓝牙发射功率
**返 回 值:  0表示成功，负值表示失败
*********************************************************************/
int ble_set_tx_power_by_param(void);

#endif /* _MY_BLE_CORE_H_ */
```

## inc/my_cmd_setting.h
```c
/********************************************************************
**版权所有         深圳市几米物联有限公司
**文件名称:        my_cmd_setting.h
**文件描述:        设备命令设置模块头文件
**当前版本:        V1.0
**作    者:        周森达 (zhousenda@jimiiot.com)
**完成日期:        2026.02.12
*********************************************************************/

#ifndef _MY_CMD_SETTING_H_
#define _MY_CMD_SETTING_H_

#define AT_CMD_TABLE_TOTAL (sizeof(at_cmd_attr_table)/sizeof(at_cmd_attr_t))
#define LTE_CMD_TABLE_TOTAL (sizeof(lte_cmd_attr_table)/sizeof(char*))

#define RESP_STRING_LENGTH_MAX              1024                //应答缓冲区大小
#define CMD_STRING_LENGTH_MAX               128                 //暂定可接收cmd缓冲区大小

typedef enum
{
    PARM_1,
    PARM_2,
    PARM_3,
    PARM_4,
    PARM_5,
    PARM_6,
    PARM_7,
    PARM_8,
    PARM_9,
    PARM_10,
    PARM_11,
    PARM_12,
    PARM_13,
    PARM_14,
    PARM_15,
    PARM_16,
    PARM_17,
    PARM_18,
    PARM_19,
    PARM_20,
    PARM_MAX
} cmd_parm_struct;

typedef struct {
    char *parm[PARM_MAX];
    uint8_t parm_count;

    char rcv_msg[CMD_STRING_LENGTH_MAX];            //接收到的数据
    uint16_t rcv_length;

    char *resp_msg;                                 //应答数据指针（指向静态缓冲区）
    uint16_t resp_length;
} at_cmd_struc;

typedef int(*at_cmd_handler_t)(at_cmd_struc *msg);

typedef struct
{
    char *cmd_str;
    at_cmd_handler_t cmd_func;
} at_cmd_attr_t;

// 标记lte_cmd来的,用于区分蓝牙下发的还是lte过来的(某些指令只能网络发蓝牙不能执行)
extern uint8_t g_lte_cmdSource;

// 用于存储整包返回的数据内容(仅在蓝牙线程使用)
extern char g_resp_buf[RESP_STRING_LENGTH_MAX];

/********************************************************************
**函数名称:  set_work_mode
**入口参数:  config   ---        指向设备工作模式配置结构体的指针
**           mode     ---        要设置的工作模式（连续/长续航/智能等）
**出口参数:  config   ---        更新后的配置结构体
**函数功能:  设置设备的工作模式，将指定的工作模式写入作模式配置结构体
**返 回 值:  0 表示成功，负值表示失败（如参数非法等）
*********************************************************************/
int set_work_mode(DeviceWorkModeConfig *config, MY_WORK_MODE mode);

/********************************************************************
**函数名称:  set_long_battery_params
**入口参数:  config              ---    指向设备工作模式配置结构体的指针
**           reporting_interval   ---    上报间隔时间（单位：分钟）
**           start_time_str      ---    启动时间字符串（格式：HH:MM）
**出口参数:  config              ---    更新后的长续航模式配置结构体
**函数功能:  设置长续航模式的工作参数，包括上报间隔和启动时间
**返 回 值:  0 表示成功，负值表示失败（如时间格式错误等）
*********************************************************************/
int set_long_battery_params(DeviceWorkModeConfig *config, uint16_t reporting_interval, const char *start_time_str);

/********************************************************************
**函数名称:  set_intelligent_params
**入口参数:  config   ---        指向设备工作模式配置结构体的指针
**           static_int ---      静态状态上报间隔（单位：秒）
**           land_int   ---      陆地状态上报间隔（单位：秒）
**           sea_int    ---      海上状态上报间隔（单位：秒）
**           sleep_sw   ---      睡眠模式标志（0:不休眠,1、2具体见产品设计）
**出口参数:  config   ---        更新后的智能模式配置结构体
**函数功能:  设置智能模式的工作参数，根据不同状态配置不同的上报间隔及睡眠模式
**返 回 值:  0 表示成功，负值表示失败（如参数非法等）
*********************************************************************/
int set_intelligent_params(DeviceWorkModeConfig *config, uint32_t static_int, uint32_t land_int, uint32_t land_distance, uint32_t sea_int, uint8_t sleep_sw);

/********************************************************************
**函数名称:  at_recv_cmd_handler
**入口参数:  at_cmd_msg      ---        AT指令结构体指针，包含接收的指令和响应存储区域(输入/输出)
**出口参数:  at_cmd_msg中更新响应消息内容和响应长度
**函数功能:  解析接收到的AT指令并执行对应的处理函数
**返回值:    成功返回处理函数返回的BLE数据类型，未匹配指令或处理失败返回0
*********************************************************************/
uint16_t at_recv_cmd_handler(at_cmd_struc *at_cmd_msg);

/********************************************************************
**函数名称:  run_nfc_cmd
**入口参数:  card_id      ---      输入，NFC卡号指针
**           index      ---        匹配到卡号的索引
**出口参数:  at_cmd_msg中更新响应消息内容和响应长度
**函数功能:  执行NFC联动指令
**返回值:    成功返回处理函数返回的BLE数据类型，未匹配指令或命令解析失败返回0
**          返回非0不代表命令执行成功，具体看对应的执行函数resp_msg回复
*********************************************************************/
uint16_t run_nfc_cmd(char *card_id, uint8_t *index);

/********************************************************************
**函数名称:  run_lte_cmd
**入口参数:  at_cmd_msg      ---   指令结构体指针，包含接收的指令和响应存储区域(输入/输出)
**出口参数:  at_cmd_msg中更新响应消息内容和响应长度
**函数功能:  执行LTE+CMD指令中的command
**返回值:    未匹配指令或命令解析失败返回0
**          返回非0不代表command执行成功，具体看对应的执行函数resp_msg回复
*********************************************************************/
uint16_t run_lte_cmd(at_cmd_struc *at_cmd_msg);

/*********************************************************************
**函数名称:  lte_send_command
**入口参数:  cmd_name     --  命令名称
**           param        --  命令参数（可选，NULL 表示无参数）
**出口参数:  无
**函数功能:  用于构建并发送 LTE 命令到 LTE 模块，支持带参数和不带参数的命令。
**           命令格式：BLE+命令名称[=参数]
**返 回 值:  0 表示成功，-1 表示失败（模式非法）
*********************************************************************/
int lte_send_command(const char *cmd_name, const char *param);

#endif /* _MY_CMD_SETTING_H_ */
```

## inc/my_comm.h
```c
#ifndef _MY_COMMON_H_
#define _MY_COMMON_H_

/* ========== 系统头文件引用 ========== */
/* 标准C库 */
#include <errno.h>
#include <stdbool.h>
#include <stddef.h>
#include <stdint.h>
#include <stdio.h>
#include <string.h>
#include <stdlib.h>
#include <math.h>
#include <time.h>
#include <ctype.h>
#include <psa/crypto.h>

/* Zephyr核心 */
#include <zephyr/device.h>
#include <zephyr/devicetree.h>
#include <zephyr/kernel.h>
#include <zephyr/types.h>

/* Zephyr驱动 */
#include <zephyr/drivers/gpio.h>
#include <zephyr/drivers/i2c.h>
#include <zephyr/drivers/pwm.h>
#include <zephyr/drivers/uart.h>
#include <zephyr/drivers/adc.h>
#include <zephyr/drivers/hwinfo.h>

/* Zephyr系统功能 */
#include <zephyr/logging/log.h>
#include <zephyr/logging/log_output_custom.h>
#include <zephyr/settings/settings.h>
#include <zephyr/sys/reboot.h>
#include <zephyr/sys/util.h>
#include <zephyr/sys/byteorder.h>
#include <zephyr/sys/poweroff.h>
#include <zephyr/sys/clock.h>
#include <zephyr/storage/flash_map.h>
#include <zephyr/fs/zms.h>

/* Zephyr 设备及电源管理 */
#include <zephyr/pm/device.h>
#include <zephyr/pm/device_runtime.h>

/* Zephyr shell */
#include <zephyr/shell/shell.h>

/* Zephyr蓝牙 */
#include <zephyr/bluetooth/bluetooth.h>
#include <zephyr/bluetooth/conn.h>
#include <zephyr/bluetooth/gatt.h>
#include <zephyr/bluetooth/hci.h>
#include <zephyr/bluetooth/hci_vs.h>
#include <zephyr/bluetooth/uuid.h>
#include <zephyr/bluetooth/addr.h>

/* Zephyr MCUmgr */
#include <zephyr/mgmt/mcumgr/mgmt/callbacks.h>

/* Nordic SDK/HAL */
#include <hal/nrf_gpio.h>
#include <hal/nrf_reset.h>
#include <bluetooth/services/nus.h>
#include <soc.h>
#include <uart_async_adapter.h>

/* ========== 通用宏定义 ========== */
#define JM_SLEEP(timeout) k_sleep(timeout)
#define MY_MALLOC_BUFFER(PTR, BUFFER_SIZE) \
    {                                      \
        (PTR) = k_malloc((BUFFER_SIZE));   \
    }
#define MY_FREE_BUFFER(PTR) k_free(PTR)
#define MY_ASSERT_INFO(PARAM)  \
    {                          \
        if (!(PARAM))          \
        {                      \
            my_system_reset(); \
        }                      \
    } // TODO

/* ========== 模块类型枚举 ========== */
typedef enum
{
    MOD_MAIN,        // 主处理程序
    MOD_BLE,         // BLE处理程序
    MOD_CTRL,        // Control处理程序
    MOD_LTE,         // LTE处理程序
    MOD_NFC,         // NFC处理程序
    MOD_GSENSOR,     // G-Sensor处理程序
    MOD_FOTA,        // FOTA处理程序
    MAX_MY_MOD_TYPE, // 最大模块类型
} module_type;

/* ========== 告警类型枚举 ========== */
typedef enum
{
    ALARM_OPEN = 1,         // 拆壳告警
    ALARM_UNLOCK,           // 开锁告警
    ALARM_LOCK,             // 上锁告警
    ALARM_STILL,            // 静止状态告警
    ALARM_SEA,              // 海运状态告警
    ALARM_LAND,             // 陆运状态告警
    ALARM_CHARGE_OUT,        // 充电器拔出告警
    ALARM_CHARGE_IN,        // 充电器插入告警
    ALARM_CHARGE_FULL,      // 充满状态告警
    ALARM_IMPACT,           // 撞击检测告警
    ALARM_CUT,              // 剪线告警
    ALARM_LOCKPIN_IN,       // 锁销插入状态告警
    ALARM_LOCKPIN_OUT,       // 锁销拔出状态告警
    ALARM_NFC,              // NFC告警
    ALARM_BATT,             // 电池状态告警
    ALARM_OTHER,            // 其他类型告警
} alarm_type_t;

/* ========== 4G开机/唤醒协议相关枚举 ========== */
typedef enum
{
    LTE_PWR_STATE_NORMAL = 0,   // 正常上电
    LTE_PWR_STATE_ABNORMAL = 1, // 异常重启
} lte_power_state_t;

typedef enum
{
    LTE_PWRON_REASON_BT = 0,    // 蓝牙上电
    LTE_PWRON_REASON_USB = 1,   // USB上电
    LTE_PWRON_REASON_OTHER = 2, // 其他(预留)
} lte_poweron_reason_t;

typedef enum
{
    LTE_BOOT_REASON_CONTINUOUS = 0, // 连续追踪模式间隔定位上报
    LTE_BOOT_REASON_LONG_LIFE = 1,  // 长续航模式间隔定位上报
    LTE_BOOT_REASON_SMART = 2,      // 智能模式间隔定位上报
    LTE_BOOT_REASON_ALARM = 3,      // 告警事件唤醒
    LTE_BOOT_REASON_SCAN = 4,       // 扫描数据上报
    LTE_BOOT_REASON_RESERVED = 255, // 预留(未知原因)
} lte_boot_reason_t;

/* ========== 定时器相关定义 ========== */
typedef enum
{
    MY_TIMER_ONE_MINUTE = 0, // 最核心定时器，一分钟定时器使用
    MY_TIMER_TEST,           // 1
    // MY_TIMER_WDT_FEED,       /* 看门狗喂狗定时器 */
    MY_TIMER_LTE_POWER,      // LTE电源控制定时器
    MY_TIMER_SHUTDOWN,       // 关机定时器
    MY_TIMER_LTE_PULSE,       // LTE脉冲定时器

    /* 扫描定时器 */
    MY_TIMER_SCAN_INTERVAL,   // 周期扫描定时器
    MY_TIMER_SCAN_LENGTH,     // 单次扫描时长定时器
    MY_TIMER_UPLOAD_INTERVAL, // 上报间隔定时器

    // G-Sensor 专用定时器
    MY_TIMER_GSENSOR_SAMPLE,        // G-Sensor 周期采样定时器
    MY_TIMER_GSENSOR_BURST,         // G-Sensor 批量采样定时器
    MY_TIMER_GSENSOR_SHOCK_ALARM,   // G-Sensor 撞击告警定时器

    MY_TIMER_MAX_ID,
} MY_E_TIMER;

/* 消息ID定义 */
typedef enum
{
    MY_MSG_BASE_MSG = 0,
    MY_MSG_UART_READ_EVENT = MY_MSG_BASE_MSG + 1,
    MY_MSG_TEST,
    MY_MSG_ONE_MINUTE_TIMER,
    MY_MSG_GET_MDIMEI,
    MY_MSG_CLEAR_WDT,
    MY_MSG_POF_EVENT,
    MY_MSG_SYS_SHUTDOWN,
    MY_MSG_POWER_OFF,
    MY_MSG_SYS_REBOOT, // 10
    MY_MSG_BLE_DATA_EVENT,
    MY_MSG_CTRL_LED,    /* LED 控制消息 */
    MY_MSG_CTRL_BUZZER_MODE, /* 蜂鸣器控制消息 */
    MY_MSG_CTRL_BUZZER_ON,
    MY_MSG_CTRL_BUZZER_OFF,
    MY_MSG_WORK_MODE_SWITCH,
    MY_MSG_SHOW_CHARG, // 充电状态显示LED消息
    MY_MSG_UPDATE_BATTERY, // 更新电池状态消息
    MY_MSG_CTRL_LOCK_LED, // 锁LED控制消息
    MY_MSG_VERIFY_UNLOCK, // 处理开锁规则



    /* LTE处理程序消息 */
    MY_MSG_RESET_LTE_TIMER,
    MY_MSG_LTE_UART_IDLE,
    MY_MSG_LTE_TX_DONE,
    MY_MSG_LTE_TX_ABORTED,
    MY_MSG_LTE_PWRON,
    MY_MSG_LTE_PWROFF,
    MY_MSG_LTE_REV,
    MY_MSG_RETRANS_CHECK,
    MY_MSG_ADD_RETRANS_QUEUE,

    /* G-Sensor处理程序消息 */
    MY_MSG_GSENSOR_LOW_POWER,       /* G-Sensor 模式切换进入低功耗模式 */
    MY_MSG_GSENSOR_INT,             /* G-Sensor INT1 中断消息 */
    MY_MSG_GSENSOR_FIFO_INT,        /* G-Sensor FIFO中断消息 */
    MY_MSG_GSENSOR_SHOCK_INT,       /* G-Sensor 撞击检测中断消息 */
    MY_MSG_GSENSOR_SAMPLE,          /* G-Sensor 周期采样消息 */
    MY_MSG_GPS_SPEED_UPDATE ,       /* 处理GPS速度消息 */
    MY_MSG_SHOCK_SW,                /* 处理撞击检测开关消息 */

    /* NFC处理程序消息 */
    MY_MSG_NFC_START_POLL,   /* 启动NFC轮询 */
    MY_MSG_NFC_STOP_POLL,    /* 停止NFC轮询 */
    MY_MSG_NFC_CARD_EVENT,   /* NFC卡片事件 */
    MY_MSG_NFC_POLL_TIMEOUT, /* NFC轮询超时 */

    /* CTRL处理程序消息 */
    MY_MSG_CTRL_KEY_SHORT_PRESS,       /* 按键短按事件 */
    MY_MSG_CTRL_KEY_LONG_PRESS,        /* 按键长按事件（2秒） */
    MY_MSG_CTRL_LIGHT_SENSOR_DARK,     /* 光传感器检测到黑暗环境 */
    MY_MSG_CTRL_LIGHT_SENSOR_BRIGHT,   /* 光传感器检测到光明环境 */
    MY_MSG_CTRL_LOCK_PIN_INSERTED,     /* 锁销插入检测 */
    MY_MSG_CTRL_LOCK_PIN_DISCONNECTED, /* 锁销断开检测 */
    MY_MSG_CTRL_SHUTDOWN_REQUEST,      /* 关机请求 */

    /* BLE 处理程序消息 */
    MY_MSG_BLE_RX,

    // 处理4G过来LTE+CMD数据透传
    MY_MSG_LTE_CMD_RX,
    MY_MSG_LTE_CMD_ASYNC_RESP,
    MY_MSG_BLE_NFCTRIG_EVENT,  // 处理NFC联动指令

    //处理透传mac和tag数据传输（单条上报)
    MY_MSG_UPLOAD_TAG_AND_MAC,

    /* DFU OTA 状态消息 */
    MY_MSG_DFU_START,    /* DFU OTA 开始 */
    MY_MSG_DFU_TIMEOUT,  /* DFU OTA 超时退出 */
    MY_MSG_DFU_COMPLETE, /* DFU OTA 完成 */
    MY_MSG_DFU_FAIL,     /* DFU OTA 失败 */

    /* 开关锁状态消息 */
    MY_MSG_CTRL_OPENLOCKING,    /* 开锁中 */
    MY_MSG_CTRL_CLOSELOCKING,   /* 关锁中 */
    MY_MSG_CTRL_STOPLOCK,       /* 停止开/关锁 */
    MY_MSG_CTRL_OPENLOCKED,     /* 已开锁 */
    MY_MSG_CTRL_CLOSELOCKED,    /* 已关锁 */
    MY_MSG_BLE_LOCK_RESULT,     /* 蓝牙开/关锁结果通知消息 */
    MY_MSG_BLE_CMD,             /* 指令透传回复消息 */

    MY_MSG_LTE_BLE_DATA,        /* 蓝牙指令数据 */
    MY_MSG_BLE_PACKET_TIMEOUT,  /* BLE包传输应答超时 */
    MY_MSG_LTE_PULSE,             /* LTE脉冲消息 */

    MY_MSG_SHUTDOWN,            /* 关机消息 */

    /* 扫描处理程序消息 */
    MY_MSG_TAG_SCAN_PROCESS,    /* TAG扫描数据处理消息 */
    MY_MSG_TRAN_MAC_PROCESS,    /* 透传MAC扫描数据处理消息 */
    MY_MSG_SCAN_INTERVAL,       /* 周期扫描定时器消息 */
    MY_MSG_SCAN_LENGTH,         /* 单次扫描时长定时器消息 */
    MY_MSG_SCAN_UPLOAD,         /* 上报间隔定时器消息 */
    MY_MSG_UPLOAD_WAKEUP,       /* 扫描数据在LTE唤醒时顺便上报消息 */
    MY_MSG_LTE_WAKEUP,          /* LTE唤醒引脚中断触发的UART恢复消息 */
} MY_MAIN_TASK_MSG;

/* ========== 集中引用所有模块头文件 ========== */
#include "my_gsensor.h"
#include "imu_api.h"

#endif /* _MY_COMMON_H_ */
```

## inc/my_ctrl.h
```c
/********************************************************************
**版权所有         深圳市几米物联有限公司
**文件名称:        my_ctrl.h
**文件描述:        系统控制模块头文件 (LED, Buzzer, Key)
**当前版本:        V1.0
**作    者:        Harrison Wu (wuyujiao@jimiiot.com)
**完成日期:        2026.01.15
*********************************************************************
** 功能描述:        1. 整合 LED 指示灯控制
**                 2. 整合蜂鸣器 PWM 驱动
**                 3. 实现 FUN_KEY (P1.09) 按键短按/长按检测
**                 4. 实现光感、剪线检测中断接口
**                 5. 提供独立线程处理控制任务
*********************************************************************/

#ifndef _MY_CTRL_H_
#define _MY_CTRL_H_

/* --- 蜂鸣器相关定义 --- */
struct my_buzzer_note
{
    uint32_t freq_hz;     /* 频率 (Hz) */
    uint32_t duration_ms; /* 持续时间 (ms) */
};

typedef enum
{
    /* 指令控制类型 (BUZZER 指令) */
    BUZZER_STOP = 0,             // 0: 停止蜂鸣器
    BUZZER_CONTINUOUS_ALARM,     // 1: 持续报警 (200ms ON, 500ms OFF, 不停止)
    BUZZER_UNLOCK_SUCCESS,       // 2: 成功提示音 (500ms ON)/解锁成功提示: 长鸣 500ms
    BUZZER_FAIL_TONE,            // 3: 失败提示音 (200ms ON, 200ms OFF, 响3声)
    BUZZER_ERROR_TONE,           // 4: 异常提示音/未授权提示音:(NFC/蓝牙上锁/解锁未授权), 5次短鸣, 每次100ms, 间隔100ms
    BUZZER_GENERAL_ALARM,        // 5: 一般报警音 (200ms ON, 300ms OFF, 持续30s)

    BUZZER_EVENT_LOCK_SUCCESS = 6,          // 上锁成功提示: 短鸣2次, 每次100ms, 间隔300ms
    BUZZER_EVENT_LOCK_FAIL,             // 上锁/解锁失败提示(滑块异常): 3次长鸣, 每次1000ms, 间隔500ms
    BUZZER_EVENT_NFC_ACTIVATE,          // NFC激活提示: 蜂鸣器提示 100ms

    BUZZER_EVENT_READ_NFC_SUCCESS        // 9: NFC 读卡成功 200ms
} my_buzzer_mode;

extern uint8_t g_nfc_card_index; // 处理NFC刷卡事件卡号索引
extern int g_last_card_index;

typedef struct {
    int tick;          // 当前计数（单位：100ms）
    int on_time;       // 响多久（单位：tick）
    int off_time;      // 停多久
    int repeat;        // 剩余次数（0表示无限;>0指定次数）
    uint8_t state;     // 0=关，1=开
} BUZZER_Ctrl_S;

typedef enum
{
    CLOSE_LED,   /* 关闭 LED */
    OPEN_LED,    /* 打开 LED */
    TOGGLE_LED,  /* 切换 LED 状态 */
} MY_LED_CTRL_CMD;

//定义了电池相关 LED ID，用于标识不同的 LED 指示灯
typedef enum
{
    BATT_LED1,  /**< 电池 LED 1 */
    BATT_LED2,  /**< 电池 LED 2 */
    BATT_LED3,  /**< 电池 LED 3 */
} MY_LED_ID;

typedef enum
{
    LOCK_LED_CLOSE,              /**< 关闭锁 LED 模式 */
    LOCK_LED_NFC_START,          /**< NFC 启动模式，LED 以 200ms 亮、500ms 灭的频率闪烁*/
    LOCK_LED_LOCKED,   /**< 解锁中和上锁中模式，LED 以 200ms 亮、200ms 灭的频率持续闪烁 */
    LOCK_LED_UNLOCK,             /**< 已解锁模式，LED 以 500ms 亮、1000ms 灭的频率闪烁，持续 18 秒 */
} MY_LOCK_LED_MODE;

// 用于刷卡执行联调指令（申请空间到蓝牙线程处理）
typedef struct {
    char card_id[32];
    uint8_t card_index; // 匹配到刷卡的索引（仅打印）
} nfctrig_cmd_t;

/* --- 接口函数 --- */

/********************************************************************
**函数名称:  my_ctrl_init
**入口参数:  tid      ---   指向线程 ID 变量的指针
**出口参数:  tid      ---   存储启动后的线程 ID
**函数功能:  初始化控制模块并启动控制线程
**返 回 值:  0 表示成功，负值表示失败
**功能描述:  1. 初始化按键、光感、剪线 IO 中断
**           2. 初始化 LED、蜂鸣器、电机、电池 ADC
**           3. 启动控制线程
*********************************************************************/
int my_ctrl_init(k_tid_t *tid);

/********************************************************************
**函数名称:  my_ctrl_buzzer_play_tone
**入口参数:  freq_hz       ---   频率 (Hz)
**           duration_ms   ---   持续时间 (ms)
**出口参数:  无
**函数功能:  播放一个指定频率和时长的单音
**返 回 值:  0 表示成功，负值表示失败
*********************************************************************/
int my_ctrl_buzzer_play_tone(uint32_t freq_hz, uint32_t duration_ms);

/********************************************************************
**函数名称:  my_ctrl_buzzer_play_sequence
**入口参数:  notes         ---   音符数组指针
**           num_notes     ---   音符数量
**出口参数:  无
**函数功能:  播放一组音符序列
**返 回 值:  0 表示成功，负值表示失败
*********************************************************************/
int my_ctrl_buzzer_play_sequence(const struct my_buzzer_note *notes, uint32_t num_notes);

/********************************************************************
**函数名称:  batt_led_set_level
**入口参数:  level    ---   电量等级 (0~3)
**出口参数:  无
**函数功能:  设置电量指示灯等级
**返 回 值:  0 表示成功，负值表示失败
**功能描述:  根据 level 值点亮对应数量的电量 LED
**           0 -> 全灭
**           1 -> 只亮 batt_led0
**           2 -> 亮 batt_led0, batt_led1
**           3 -> 亮 batt_led0, batt_led1, batt_led2
*********************************************************************/
int batt_led_set_level(uint8_t level);

/********************************************************************
**函数名称:  handle_nfc_card_event
**入口参数:  card_id    ---        输入，NFC卡号指针
            id_len     ---        输入，卡号长度
**出口参数:  无
**函数功能:  处理NFC刷卡事件，检查重复刷卡、验证卡片权限并执行相应操作
**返 回 值:  无
*********************************************************************/
void handle_nfc_card_event(uint8_t *card_id, uint8_t id_len);

/*********************************************************************
**函数名称:  my_lock_led_set_mode
**入口参数:  mode  ---        LED 显示模式，使用 MY_LOCK_LED_MODE 枚举类型
**出口参数:  无
**函数功能:  该函数根据传入的模式参数，设置锁 LED 的不同显示模式，
**          包括关闭、NFC启动、解锁中和上锁中和已解锁模式。
*********************************************************************/
void my_lock_led_set_mode(MY_LOCK_LED_MODE mode);

/*********************************************************************
**函数名称:  my_lock_led_msg_send
**入口参数:  mode  ---        LED 显示模式，使用 MY_LOCK_LED_MODE 枚举类型
**出口参数:  无
**函数功能:  用于发送锁 LED 控制消息到控制模块，设置锁 LED 的显示模式
*********************************************************************/
void my_lock_led_msg_send(MY_LOCK_LED_MODE mode);

/********************************************************************
**函数名称:  get_lockpin_insert_state
**入口参数:  无
**出口参数:  无
**函数功能:  获取锁销插入状态
**返 回 值:  true  ---        锁销已插入
            false ---        锁销未插入
*********************************************************************/
bool get_lockpin_insert_state(void);

/**
********************************************************************
**函数名称：  my_set_buzzer_mode
**入口参数：  buzzer_mode - 蜂鸣器模式枚举值 (my_buzzer_mode)
**                        例如: BUZZER_STOP, BUZZER_EVENT_NFC_SUCCESS 等
**出口参数：  无
**函数功能：  设置蜂鸣器工作模式并触发控制任务处理
**返 回 值：  无
**功能描述：  向控制模块 (MOD_CTRL) 发送消息 (MY_MSG_CTRL_BUZZER_MODE)
********************************************************************
*/
void my_set_buzzer_mode(my_buzzer_mode buzzer_mode);

/********************************************************************
**函数名称:  send_alarm_message_to_lte
**入口参数:  alarm_type    ---    告警类型枚举(输入)
**          additional_info   ---    附加信息字符串指针(输入，可为NULL)
**出口参数:  无
**函数功能:  发送告警消息到LTE模块
**返回值:    无
**注意事项:  函数内部动态分配内存，由LTE任务负责释放
*********************************************************************/
void send_alarm_message_to_lte(alarm_type_t alarm_type, const char *additional_info);

/********************************************************************
**函数名称:  go_to_system_off
**入口参数:  无
**出口参数:  无
**函数功能:  进入系统深度休眠
**返 回 值:  无
**功能描述:  1. 清除 RESETREAS 避免立即唤醒
**           2. 配置唤醒引脚
**           3. 延迟 2 秒确保日志输出
**           4. 进入 System OFF 模式
*********************************************************************/
void go_to_system_off(void);

/********************************************************************
**函数名称:  lock_led_set
**入口参数:  on       ---   true 点亮，false 熄灭
**出口参数:  无
**函数功能:  设置锁状态指示灯
**返 回 值:  无
**功能描述:  根据 on 参数控制锁状态 LED 亮灭
*********************************************************************/
void lock_led_set(bool on);

/************************************************************
**函数名称:  get_light_state
**入口参数:  无
**出口参数:  无
**函数功能:  获取当前光感状态
**返回值:    光感状态（true=有光，false=无光）
*********************************************************************/
bool get_light_state(void);

#endif /* _MY_CTRL_H_ */
```

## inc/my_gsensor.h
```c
#ifndef _MY_GSENSOR_H_
#define _MY_GSENSOR_H_

/********************************************************************
**函数名称:  my_gsensor_init
**入口参数:  tid      ---        指向线程 ID 变量的指针
**出口参数:  tid      ---        存储启动后的线程 ID
**函数功能:  初始化 G-Sensor 相关的 I2C 设备与 GPIO 引脚，并启动 G-Sensor 线程
**返 回 值:  0 表示成功，负值表示失败
*********************************************************************/
int my_gsensor_init(k_tid_t *tid);

#endif /* _MY_GSENSOR_H_ */
```

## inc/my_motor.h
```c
/********************************************************************
**版权所有         深圳市几米物联有限公司
**文件名称:        my_motor.h
**文件描述:        电机控制模块实现头文件
**当前版本:        V1.0
**作    者:        周森达 (zhousenda@jimiiot.com)
**完成日期:        2026.02.04
*********************************************************************/

#ifndef _MY_MOTOR_H_
#define _MY_MOTOR_H_

typedef enum {
    BLE_UNLOCKING,  // 正在开锁
    BLE_LOCKING,    // 正在关锁
    BLE_LOCK_STOP,  // 停止锁操作
} BLE_LOCK_STATE_T;

extern BLE_LOCK_STATE_T g_bBleLockState;

void motor_power_set(bool on);

/********************************************************************
**函数名称:  req_open_lock_action
**入口参数:  无
**出口参数:  无
**函数功能:  请求执行上锁操作
**返 回 值:  无
*********************************************************************/
void req_open_lock_action(void);

/********************************************************************
**函数名称:  req_close_lock_action
**入口参数:  无
**出口参数:  无
**函数功能:  请求执行关锁操作
**返 回 值:  无
*********************************************************************/
void req_close_lock_action(void);

/********************************************************************
**函数名称:  stop_lock_action
**入口参数:  无
**出口参数:  无
**函数功能:  执行停止开/关锁操作
**返 回 值:  无
*********************************************************************/
void stop_lock_action(void);

int motor_gpio_init(void);

/********************************************************************
**函数名称:  get_closelock_state
**入口参数:  无
**出口参数:  无
**函数功能:  获取关锁限位状态
**返 回 值:  true  ---        关锁到位（限位检测到）
            false ---        未关锁到位
*********************************************************************/
bool get_closelock_state(void);

/********************************************************************
**函数名称:  get_openlock_state
**入口参数:  无
**出口参数:  无
**函数功能:  获取开锁限位状态
**返 回 值:  true  ---        开锁到位（限位检测到）
            false ---        未开锁到位
*********************************************************************/
bool get_openlock_state(void);

#endif
```
